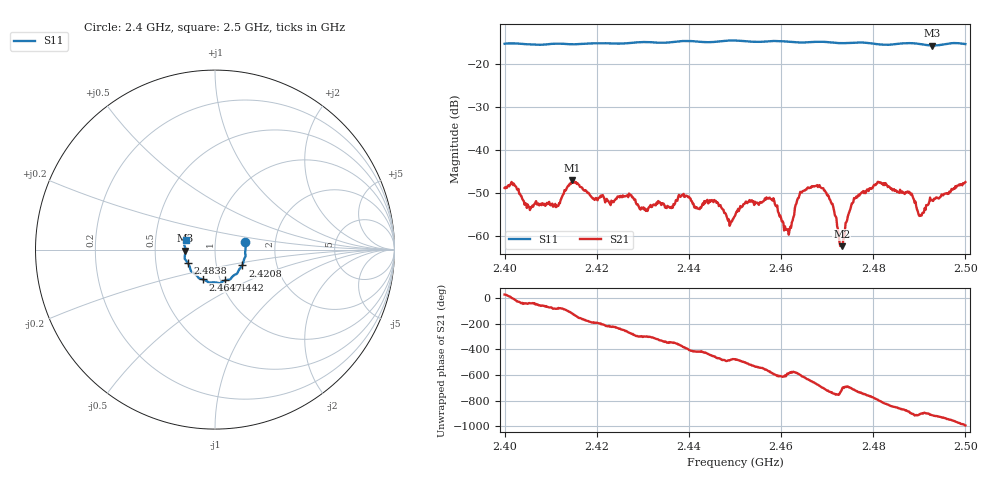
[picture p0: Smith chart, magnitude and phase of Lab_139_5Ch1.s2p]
# Hz S RI R 50
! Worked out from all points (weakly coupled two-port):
!   601 points, 2.4 GHz to 2.5 GHz, reference 50 ohm
!   highest |S21| = -47.01 dB at 2.4147 GHz (marker M1); lowest = -62.3 dB at 2.4732 GHz (marker M2)
!   lowest |S11| = -15.6 dB at 2.4928 GHz (marker M3), VSWR 1.40, Z = 35.8 - j0.422 ohm
!   |S11| at or under -10 dB: start of sweep to end of sweep
!   S12 and S22 are empty: the file has one direction only
!   S11 on the Smith chart (normalised r, x): 2.4 GHz: 1.40, +0.12; 2.4208 GHz: 1.33, -0.24; 2.4442 GHz: 1.05, -0.37; 2.4647 GHz: 0.83, -0.29; 2.4838 GHz: 0.73, -0.11; 2.5 GHz: 0.71, +0.08
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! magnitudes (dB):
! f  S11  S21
! 2.4 GHz  -15.2  -48.8
! 2.4053 GHz  -15.4  -53.2
! 2.411 GHz  -15.2  -52.5
! 2.4147 GHz  -15.4  -47.0
! 2.4167 GHz  -15.3  -48.6
! 2.4208 GHz  -15.1  -50.6
! 2.4333 GHz  -15.0  -51.8
! 2.4442 GHz  -14.9  -52.4
! 2.45 GHz  -14.5  -55.2
! 2.4578 GHz  -14.6  -51.4
! 2.4617 GHz  -14.8  -59.6
! 2.4647 GHz  -14.9  -49.5
! 2.4667 GHz  -14.8  -48.3
! 2.4707 GHz  -14.9  -51.6
! 2.4732 GHz  -15.1  -62.3
! 2.4763 GHz  -15.0  -50.8
! 2.4833 GHz  -15.5  -48.4
! 2.4838 GHz  -15.4  -49.0
! 2.488 GHz  -15.1  -50.0
! 2.4903 GHz  -15.3  -55.2
! 2.4928 GHz  -15.6  -51.6
! 2.5 GHz  -15.3  -47.4
